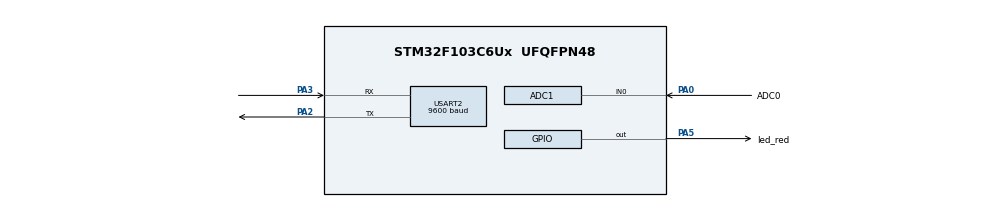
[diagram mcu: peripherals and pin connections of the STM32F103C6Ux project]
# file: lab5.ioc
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ADC1.Channel-0\#ChannelRegularConversion=ADC_CHANNEL_0
ADC1.ContinuousConvMode=ENABLE
ADC1.NbrOfConversionFlag=1
ADC1.Rank-0\#ChannelRegularConversion=1
ADC1.SamplingTime-0\#ChannelRegularConversion=ADC_SAMPLETIME_1CYCLE_5
ADC1.master=1
Mcu.Family=STM32F1
Mcu.Name=STM32F103C6Ux
Mcu.Package=UFQFPN48
NVIC.PriorityGroup=NVIC_PRIORITYGROUP_4
NVIC.TIM2_IRQn=true\:0\:0\:false\:false\:true\:true\:true
NVIC.USART2_IRQn=true\:0\:0\:false\:false\:true\:true\:true
PA0-WKUP.GPIO_Label=ADC0
PA0-WKUP.Signal=ADCx_IN0
PA2.Mode=Asynchronous
PA2.Signal=USART2_TX
PA3.Mode=Asynchronous
PA3.Signal=USART2_RX
PA5.GPIO_Label=led_red
PA5.Signal=GPIO_Output
ProjectManager.HeapSize=0x200
ProjectManager.StackSize=0x400
ProjectManager.TargetToolchain=STM32CubeIDE
RCC.APB1Freq_Value=8000000
RCC.APB2Freq_Value=8000000
SH.ADCx_IN0.0=ADC1_IN0,IN0
TIM2.Period=9
TIM2.Prescaler=7999
USART2.BaudRate=9600
USART2.VirtualMode=VM_ASYNC
VP_SYS_VS_ND.Mode=No_Debug
VP_TIM2_VS_ClockSourceINT.Mode=Internal
board=custom

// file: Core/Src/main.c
/* USER CODE BEGIN Header */
/**
  ******************************************************************************
  * @file           : main.c
  * @brief          : Main program body
  ******************************************************************************
  * @attention
  *
  * <h2><center>&copy; Copyright (c) 2024 STMicroelectronics.
  * All rights reserved.</center></h2>
  *
  * This software component is licensed by ST under BSD 3-Clause license,
  * the "License"; You may not use this file except in compliance with the
  * License. You may obtain a copy of the License at:
  *                        opensource.org/licenses/BSD-3-Clause
  *
  ******************************************************************************
  */
/* USER CODE END Header */
#include "main.h"

/* USER CODE BEGIN Includes */
#include "global.h"
#include "uart.h"
#include <stdio.h>
#include "software_timer.h"
/* USER CODE END Includes */

ADC_HandleTypeDef hadc1;

TIM_HandleTypeDef htim2;

UART_HandleTypeDef huart2;

void SystemClock_Config(void);
static void MX_GPIO_Init(void);
static void MX_ADC1_Init(void);
static void MX_USART2_UART_Init(void);
static void MX_TIM2_Init(void);

/* USER CODE BEGIN 0 */
	enum UART_STATE 	uartState = UART_IDLE;
	enum CMD_STATE		cmdState = CMD_IDLE;
	enum ERROR_STATE	errState = ERROR_IDLE;
	uint8_t cmdBuffer[CMD_CONTENT_MAX_LENGTH]; // string data
	uint8_t buffer_flag = 0; // receive data
	uint8_t cmd_content_index = 0;
	uint8_t tempValue = 0; // store byte data from uart

	void HAL_UART_RxCpltCallback(UART_HandleTypeDef *huart)
	{
		if(huart->Instance == USART2)
		{
			HAL_UART_Transmit(&huart2, &tempValue, 1, 50);
			cmdBuffer[cmd_content_index++] = tempValue;
			buffer_flag = 1;
			if(cmd_content_index >= CMD_CONTENT_MAX_LENGTH)
			{
				cmd_content_index = 0 ;
			}
			HAL_UART_Receive_IT(&huart2, &tempValue, 1);
		}
	}
/* USER CODE END 0 */

int main(void)
{

  /* MCU Configuration--------------------------------------------------------*/

  /* Reset of all peripherals, Initializes the Flash interface and the Systick. */
  HAL_Init();

  /* Configure the system clock */
  SystemClock_Config();

  /* Initialize all configured peripherals */
  MX_GPIO_Init();
  MX_ADC1_Init();
  MX_USART2_UART_Init();
  MX_TIM2_Init();
  /* USER CODE BEGIN 2 */
  HAL_TIM_Base_Start_IT(&htim2);
  HAL_UART_Receive_IT (&huart2, &tempValue, 1);
  HAL_ADC_Start(&hadc1);
  /* USER CODE END 2 */

  /* Infinite loop */
  /* USER CODE BEGIN WHILE */
  	char welcome[100];
    int length = sprintf(welcome, "STARTING UART\r\n");
    HAL_UART_Transmit(&huart2, (void *)welcome, length, 50);
    set_timer(2, 500);
  while (1)
  {
	  if(is_time_expired(2))
	  {
		  set_timer(2, 500);
		  HAL_GPIO_TogglePin(led_red_GPIO_Port, led_red_Pin);
	  }
	  if(buffer_flag == 1)
	     {
	 		  command_parser_fsm();
	 		  buffer_flag = 0;
	 	  }
	 	  uart_communication_fsm();
    /* USER CODE END WHILE */

  }
}

void SystemClock_Config(void)
{
  RCC_OscInitTypeDef RCC_OscInitStruct = {0};
  RCC_ClkInitTypeDef RCC_ClkInitStruct = {0};
  RCC_PeriphCLKInitTypeDef PeriphClkInit = {0};

  /** Initializes the RCC Oscillators according to the specified parameters
  * in the RCC_OscInitTypeDef structure.
  */
  RCC_OscInitStruct.OscillatorType = RCC_OSCILLATORTYPE_HSI;
  RCC_OscInitStruct.HSIState = RCC_HSI_ON;
  RCC_OscInitStruct.HSICalibrationValue = RCC_HSICALIBRATION_DEFAULT;
  RCC_OscInitStruct.PLL.PLLState = RCC_PLL_NONE;
  if (HAL_RCC_OscConfig(&RCC_OscInitStruct) != HAL_OK)
  {
    Error_Handler();
  }
  /** Initializes the CPU, AHB and APB buses clocks
  */
  RCC_ClkInitStruct.ClockType = RCC_CLOCKTYPE_HCLK|RCC_CLOCKTYPE_SYSCLK
                              |RCC_CLOCKTYPE_PCLK1|RCC_CLOCKTYPE_PCLK2;
  RCC_ClkInitStruct.SYSCLKSource = RCC_SYSCLKSOURCE_HSI;
  RCC_ClkInitStruct.AHBCLKDivider = RCC_SYSCLK_DIV1;
  RCC_ClkInitStruct.APB1CLKDivider = RCC_HCLK_DIV1;
  RCC_ClkInitStruct.APB2CLKDivider = RCC_HCLK_DIV1;

  if (HAL_RCC_ClockConfig(&RCC_ClkInitStruct, FLASH_LATENCY_0) != HAL_OK)
  {
    Error_Handler();
  }
  PeriphClkInit.PeriphClockSelection = RCC_PERIPHCLK_ADC;
  PeriphClkInit.AdcClockSelection = RCC_ADCPCLK2_DIV2;
  if (HAL_RCCEx_PeriphCLKConfig(&PeriphClkInit) != HAL_OK)
  {
    Error_Handler();
  }
}

static void MX_ADC1_Init(void)
{

  ADC_ChannelConfTypeDef sConfig = {0};

  /** Common config
  */
  hadc1.Instance = ADC1;
  hadc1.Init.ScanConvMode = ADC_SCAN_DISABLE;
  hadc1.Init.ContinuousConvMode = ENABLE;
  hadc1.Init.DiscontinuousConvMode = DISABLE;
  hadc1.Init.ExternalTrigConv = ADC_SOFTWARE_START;
  hadc1.Init.DataAlign = ADC_DATAALIGN_RIGHT;
  hadc1.Init.NbrOfConversion = 1;
  if (HAL_ADC_Init(&hadc1) != HAL_OK)
  {
    Error_Handler();
  }
  /** Configure Regular Channel
  */
  sConfig.Channel = ADC_CHANNEL_0;
  sConfig.Rank = ADC_REGULAR_RANK_1;
  sConfig.SamplingTime = ADC_SAMPLETIME_1CYCLE_5;
  if (HAL_ADC_ConfigChannel(&hadc1, &sConfig) != HAL_OK)
  {
    Error_Handler();
  }

}

static void MX_TIM2_Init(void)
{

  TIM_ClockConfigTypeDef sClockSourceConfig = {0};
  TIM_MasterConfigTypeDef sMasterConfig = {0};

  htim2.Instance = TIM2;
  htim2.Init.Prescaler = 7999;
  htim2.Init.CounterMode = TIM_COUNTERMODE_UP;
  htim2.Init.Period = 9;
  htim2.Init.ClockDivision = TIM_CLOCKDIVISION_DIV1;
  htim2.Init.AutoReloadPreload = TIM_AUTORELOAD_PRELOAD_DISABLE;
  if (HAL_TIM_Base_Init(&htim2) != HAL_OK)
  {
    Error_Handler();
  }
  sClockSourceConfig.ClockSource = TIM_CLOCKSOURCE_INTERNAL;
  if (HAL_TIM_ConfigClockSource(&htim2, &sClockSourceConfig) != HAL_OK)
  {
    Error_Handler();
  }
  sMasterConfig.MasterOutputTrigger = TIM_TRGO_RESET;
  sMasterConfig.MasterSlaveMode = TIM_MASTERSLAVEMODE_DISABLE;
  if (HAL_TIMEx_MasterConfigSynchronization(&htim2, &sMasterConfig) != HAL_OK)
  {
    Error_Handler();
  }

}

static void MX_USART2_UART_Init(void)
{

  huart2.Instance = USART2;
  huart2.Init.BaudRate = 9600;
  huart2.Init.WordLength = UART_WORDLENGTH_8B;
  huart2.Init.StopBits = UART_STOPBITS_1;
  huart2.Init.Parity = UART_PARITY_NONE;
  huart2.Init.Mode = UART_MODE_TX_RX;
  huart2.Init.HwFlowCtl = UART_HWCONTROL_NONE;
  huart2.Init.OverSampling = UART_OVERSAMPLING_16;
  if (HAL_UART_Init(&huart2) != HAL_OK)
  {
    Error_Handler();
  }

}

static void MX_GPIO_Init(void)
{
  GPIO_InitTypeDef GPIO_InitStruct = {0};

  /* GPIO Ports Clock Enable */
  __HAL_RCC_GPIOA_CLK_ENABLE();

  /*Configure GPIO pin Output Level */
  HAL_GPIO_WritePin(led_red_GPIO_Port, led_red_Pin, GPIO_PIN_RESET);

  /*Configure GPIO pin : led_red_Pin */
  GPIO_InitStruct.Pin = led_red_Pin;
  GPIO_InitStruct.Mode = GPIO_MODE_OUTPUT_PP;
  GPIO_InitStruct.Pull = GPIO_NOPULL;
  GPIO_InitStruct.Speed = GPIO_SPEED_FREQ_LOW;
  HAL_GPIO_Init(led_red_GPIO_Port, &GPIO_InitStruct);

}

/* USER CODE BEGIN 4 */
void HAL_TIM_PeriodElapsedCallback(TIM_HandleTypeDef *htim)
{
	timer_run();
//	getKeyInput();
//	scanLedBuffer();
//	SCH_Update();
}
/* USER CODE END 4 */

void Error_Handler(void)
{
  __disable_irq();
  while (1)
  {
  }
}

/************************ (C) COPYRIGHT STMicroelectronics *****END OF FILE****/
